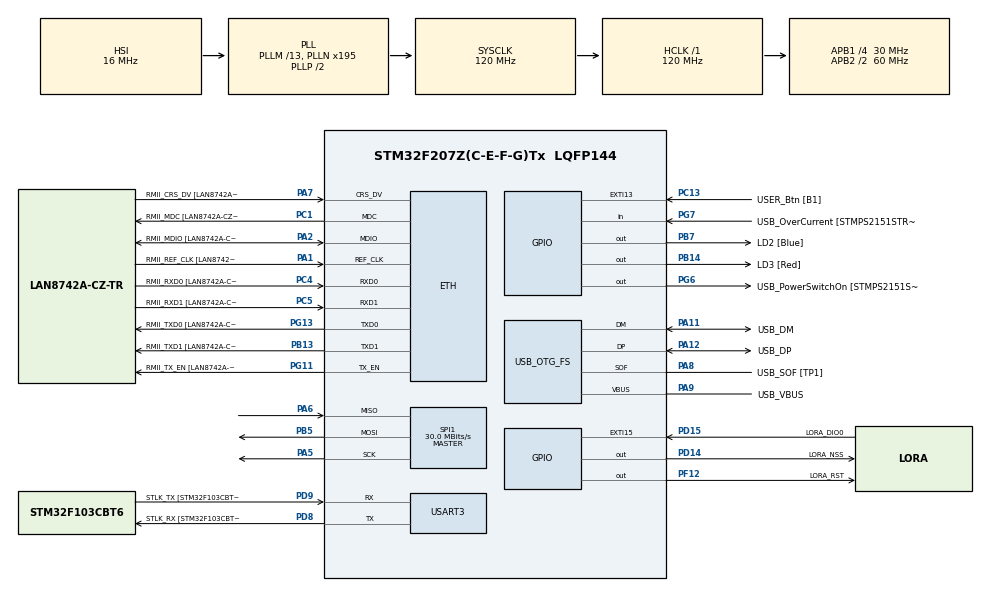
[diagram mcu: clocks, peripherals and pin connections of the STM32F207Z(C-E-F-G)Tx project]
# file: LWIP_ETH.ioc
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ETH.AutoNegotiation=ETH_AUTONEGOTIATION_ENABLE
ETH.MediaInterface=ETH_MEDIA_INTERFACE_RMII
ETH.PHY_Name=LAN8742A_PHY_ADDRESS
ETH.PHY_Value=0
ETH.PhyAddress=0
FREERTOS.Tasks01=defaultTask,24,128,StartDefaultTask,Default,NULL,Dynamic,NULL,NULL
FREERTOS.configTOTAL_HEAP_SIZE=28672
FREERTOS.configUSE_NEWLIB_REENTRANT=1
LWIP.GATEWAY_ADDRESS=000.000.000.000
LWIP.IP_ADDRESS=192.168.007.020
LWIP.LWIP_DHCP=1
LWIP.MEM_SIZE=10240
LWIP.NETMASK_ADDRESS=255.255.255.000
LWIP.RTOS_USE_NEWLIB_REENTRANT=FREERTOS$context\:USE_NEWLIB_REENTRANT
LWIP.Version=v2.0.3_Cube
Mcu.Family=STM32F2
Mcu.Name=STM32F207Z(C-E-F-G)Tx
Mcu.Package=LQFP144
NVIC.ETH_IRQn=true\:5\:0\:false\:false\:true\:true\:true\:true\:true
NVIC.ETH_WKUP_IRQn=true\:5\:0\:false\:false\:true\:true\:true\:true\:true
NVIC.PriorityGroup=NVIC_PRIORITYGROUP_4
NVIC.TIM6_DAC_IRQn=true\:15\:0\:false\:false\:true\:false\:false\:true\:true
NVIC.TimeBase=TIM6_DAC_IRQn
NVIC.TimeBaseIP=TIM6
PA1.GPIO_Label=RMII_REF_CLK [LAN8742A-CZ-TR_REFCLK0]
PA1.Mode=RMII
PA1.Signal=ETH_REF_CLK
PA10.GPIO_Label=USB_ID
PA10.Signal=USB_OTG_FS_ID
PA11.GPIO_Label=USB_DM
PA11.Mode=Device_Only
PA11.Signal=USB_OTG_FS_DM
PA12.GPIO_Label=USB_DP
PA12.Mode=Device_Only
PA12.Signal=USB_OTG_FS_DP
PA13.GPIO_Label=TMS
PA13.Mode=Serial_Wire
PA13.Signal=SYS_JTMS-SWDIO
PA14.GPIO_Label=TCK
PA14.Mode=Serial_Wire
PA14.Signal=SYS_JTCK-SWCLK
PA2.GPIO_Label=RMII_MDIO [LAN8742A-CZ-TR_MDIO]
PA2.Mode=RMII
PA2.Signal=ETH_MDIO
PA5.Mode=Full_Duplex_Master
PA5.Signal=SPI1_SCK
PA6.Mode=Full_Duplex_Master
PA6.Signal=SPI1_MISO
PA7.GPIO_Label=RMII_CRS_DV [LAN8742A-CZ-TR_CRS_DV]
PA7.Mode=RMII
PA7.Signal=ETH_CRS_DV
PA8.GPIO_Label=USB_SOF [TP1]
PA8.Mode=Activate_SOF_FS
PA8.Signal=USB_OTG_FS_SOF
PA9.GPIO_Label=USB_VBUS
PA9.Mode=Activate_VBUS
PA9.Signal=USB_OTG_FS_VBUS
PB13.GPIO_Label=RMII_TXD1 [LAN8742A-CZ-TR_TXD1]
PB13.Mode=RMII
PB13.Signal=ETH_TXD1
PB14.GPIO_Label=LD3 [Red]
PB14.Signal=GPIO_Output
PB3.GPIO_Label=SWO
PB3.Signal=SYS_JTDO-SWO
PB5.Mode=Full_Duplex_Master
PB5.Signal=SPI1_MOSI
PB7.GPIO_Label=LD2 [Blue]
PB7.Signal=GPIO_Output
PC1.GPIO_Label=RMII_MDC [LAN8742A-CZ-TR_MDC]
PC1.Mode=RMII
PC1.Signal=ETH_MDC
PC13.GPIO_Label=USER_Btn [B1]
PC13.Signal=GPXTI13
PC14-OSC32_IN.Signal=RCC_OSC32_IN
PC15-OSC32_OUT.Signal=RCC_OSC32_OUT
PC4.GPIO_Label=RMII_RXD0 [LAN8742A-CZ-TR_RXD0]
PC4.Mode=RMII
PC4.Signal=ETH_RXD0
PC5.GPIO_Label=RMII_RXD1 [LAN8742A-CZ-TR_RXD1]
PC5.Mode=RMII
PC5.Signal=ETH_RXD1
PD14.GPIO_Label=LORA_NSS
PD14.Signal=GPIO_Output
PD15.GPIO_Label=LORA_DIO0
PD15.Signal=GPXTI15
PD8.GPIO_Label=STLK_RX [STM32F103CBT6_PA2]
PD8.Mode=Asynchronous
PD8.Signal=USART3_TX
PD9.GPIO_Label=STLK_TX [STM32F103CBT6_PA3]
PD9.Mode=Asynchronous
PD9.Signal=USART3_RX
PF12.GPIO_Label=LORA_RST
PF12.Signal=GPIO_Output
PG11.GPIO_Label=RMII_TX_EN [LAN8742A-CZ-TR_TXEN]
PG11.Mode=RMII
PG11.Signal=ETH_TX_EN
PG13.GPIO_Label=RMII_TXD0 [LAN8742A-CZ-TR_TXD0]
PG13.Mode=RMII
PG13.Signal=ETH_TXD0
PG6.GPIO_Label=USB_PowerSwitchOn [STMPS2151STR_EN]
PG6.Signal=GPIO_Output
PG7.GPIO_Label=USB_OverCurrent [STMPS2151STR_FAULT]
PG7.Signal=GPIO_Input
PH0-OSC_IN.GPIO_Label=MCO [STM32F103CBT6_PA8]
PH0-OSC_IN.Mode=HSE-External-Oscillator
PH0-OSC_IN.Signal=RCC_OSC_IN
PH1-OSC_OUT.Mode=HSE-External-Oscillator
PH1-OSC_OUT.Signal=RCC_OSC_OUT
ProjectManager.HeapSize=0x200
ProjectManager.StackSize=0x400
ProjectManager.TargetToolchain=STM32CubeIDE
RCC.48MHZClocksFreq_Value=48000000
RCC.AHBFreq_Value=120000000
RCC.APB1CLKDivider=RCC_HCLK_DIV4
RCC.APB1Freq_Value=30000000
RCC.APB1TimFreq_Value=60000000
RCC.APB2CLKDivider=RCC_HCLK_DIV2
RCC.APB2Freq_Value=60000000
RCC.APB2TimFreq_Value=120000000
RCC.CortexFreq_Value=120000000
RCC.HCLKFreq_Value=120000000
RCC.HSE_VALUE=8000000
RCC.HSI_VALUE=16000000
RCC.LSE_VALUE=32768
RCC.PLLM=13
RCC.PLLMUL=RCC_PLL_MUL9
RCC.PLLN=195
RCC.PLLQ=5
RCC.PRESCALERUSB=RCC_USBCLKSOURCE_PLL_DIV1_5
RCC.SYSCLKFreq_VALUE=120000000
RCC.SYSCLKSource=RCC_SYSCLKSOURCE_PLLCLK
RCC.SYSCLKSourceVirtual=RCC_SYSCLKSOURCE_PLLCLK
RCC.USBFreq_Value=48000000
RCC.VCOOutputFreq_Value=240000000
SPI1.CalculateBaudRate=30.0 MBits/s
SPI1.Direction=SPI_DIRECTION_2LINES
SPI1.Mode=SPI_MODE_MASTER
SPI1.VirtualType=VM_MASTER
USART3.VirtualMode=VM_ASYNC
USB_OTG_FS.VirtualMode=Device_Only
VP_FREERTOS_VS_CMSIS_V2.Mode=CMSIS_V2
VP_LWIP_VS_Enabled.Mode=Enabled
VP_SYS_VS_tim6.Mode=TIM6
board=NUCLEO-F207ZG

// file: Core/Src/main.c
/* USER CODE BEGIN Header */
/**
 ******************************************************************************
 * @file    main.c
 * @brief   StructEye Gateway — STM32F207ZG LoRa RX
 *          Receives from 4 sensor nodes and forwards via Paho MQTT.
 ******************************************************************************
 */
/* USER CODE END Header */
#include "main.h"
#include "cmsis_os.h"
#include "lwip.h"

/* USER CODE BEGIN Includes */
#include "lora.h"
#include "lwip/api.h"
#include "lwip/ip_addr.h"
#include "lwip/netif.h"
#include <stdio.h>
#include <string.h>

#include "MQTTClient.h"

/* IMPORTANT: Update this to your actual PC IP address! */
#define MQTT_BROKER_IP "192.168.1.69"
#define MQTT_BROKER_PORT 1883
/* USER CODE END Includes */

SPI_HandleTypeDef hspi1;

UART_HandleTypeDef huart3;

PCD_HandleTypeDef hpcd_USB_OTG_FS;

/* Definitions for defaultTask */
osThreadId_t defaultTaskHandle;
const osThreadAttr_t defaultTask_attributes = {
    .name = "defaultTask",
    .stack_size = 1024 * 4,
    .priority = (osPriority_t)osPriorityNormal,
};
/* USER CODE BEGIN PV */
extern struct netif gnetif;
volatile uint8_t lora_rx_flag = 0;
MQTTClient mqttClient;
Network network;
unsigned char sendbuf[512];
unsigned char readbuf[512];

/* Used for LwIP Netconn transport instead of missing mqtt_transport.h */
static struct netconn *s_conn = NULL;
/* USER CODE END PV */

void SystemClock_Config(void);
static void MX_GPIO_Init(void);
static void MX_USART3_UART_Init(void);
static void MX_USB_OTG_FS_PCD_Init(void);
static void MX_SPI1_Init(void);
void StartDefaultTask(void *argument);

/* USER CODE BEGIN PFP */
int _write(int file, char *ptr, int len);
uint16_t crc16(const uint8_t *data, uint16_t len);

/* --- Network transport functions for LwIP Netconn --- */
static int transport_read(Network *n, unsigned char *buf, int len,
                          int timeout_ms) {
  (void)n;
  if (s_conn == NULL)
    return -1;
  netconn_set_recvtimeout(s_conn, (uint32_t)(timeout_ms < 1 ? 1 : timeout_ms));
  struct netbuf *nb = NULL;
  err_t err = netconn_recv(s_conn, &nb);
  if (err == ERR_TIMEOUT)
    return 0;
  if (err != ERR_OK || nb == NULL)
    return -1;
  void *data = NULL;
  uint16_t avail = 0;
  netbuf_data(nb, &data, &avail);
  int copy = ((int)avail < len) ? (int)avail : len;
  memcpy(buf, data, (size_t)copy);
  netbuf_delete(nb);
  return copy;
}

static int transport_write(Network *n, unsigned char *buf, int len,
                           int timeout_ms) {
  (void)n;
  (void)timeout_ms;
  if (s_conn == NULL)
    return -1;
  err_t err = netconn_write(s_conn, buf, (size_t)len, NETCONN_COPY);
  return (err == ERR_OK) ? len : -1;
}

static int transport_connect(const char *ip_str, uint16_t port) {
  if (s_conn != NULL) {
    netconn_close(s_conn);
    netconn_delete(s_conn);
    s_conn = NULL;
  }
  s_conn = netconn_new(NETCONN_TCP);
  if (s_conn == NULL)
    return -1;
  ip_addr_t dest;
  memset(&dest, 0, sizeof(dest));
  if (!ipaddr_aton(ip_str, &dest)) {
    netconn_delete(s_conn);
    s_conn = NULL;
    return -1;
  }
  err_t err = netconn_connect(s_conn, &dest, port);
  if (err != ERR_OK) {
    netconn_delete(s_conn);
    s_conn = NULL;
    return -1;
  }
  return 0;
}

static void transport_disconnect(void) {
  if (s_conn != NULL) {
    netconn_close(s_conn);
    netconn_delete(s_conn);
    s_conn = NULL;
  }
}
/* USER CODE END PFP */

/* USER CODE BEGIN 0 */

/* ── USART3 debug (Nucleo virtual COM) ─────────────────────────────────── */
static void USART3_DebugInit(void) {
  __HAL_RCC_GPIOD_CLK_ENABLE();
  __HAL_RCC_USART3_CLK_ENABLE();

  GPIO_InitTypeDef GPIO_InitStruct = {0};
  GPIO_InitStruct.Pin = GPIO_PIN_8 | GPIO_PIN_9;
  GPIO_InitStruct.Mode = GPIO_MODE_AF_PP;
  GPIO_InitStruct.Pull = GPIO_NOPULL;
  GPIO_InitStruct.Speed = GPIO_SPEED_FREQ_VERY_HIGH;
  GPIO_InitStruct.Alternate = GPIO_AF7_USART3;
  HAL_GPIO_Init(GPIOD, &GPIO_InitStruct);

  const uint32_t baud = 115200U;
  uint32_t pclk = HAL_RCC_GetPCLK1Freq();
  USART3->BRR = (pclk + (baud / 2U)) / baud;
  USART3->CR1 = USART_CR1_TE | USART_CR1_RE;
  USART3->CR2 = 0;
  USART3->CR3 = 0;
  USART3->CR1 |= USART_CR1_UE;
}

static void USART3_WriteBlocking(const uint8_t *data, uint16_t len) {
  for (uint16_t i = 0; i < len; i++) {
    while ((USART3->SR & USART_SR_TXE) == 0) {
    }
    USART3->DR = data[i];
  }
  while ((USART3->SR & USART_SR_TC) == 0) {
  }
}

int _write(int file, char *ptr, int len) {
  (void)file;
  USART3_WriteBlocking((const uint8_t *)ptr, (uint16_t)len);
  return len;
}

int __io_putchar(int ch) {
  uint8_t c = (uint8_t)ch;
  USART3_WriteBlocking(&c, 1);
  return ch;
}

/* ── CRC16 ──────────────────────────────────────────────────────────────── */
uint16_t crc16(const uint8_t *data, uint16_t len) {
  uint16_t crc = 0xFFFF;
  for (uint16_t i = 0; i < len; i++) {
    crc ^= (uint16_t)data[i] << 8;
    for (uint8_t j = 0; j < 8; j++) {
      if (crc & 0x8000)
        crc = (crc << 1) ^ 0x1021;
      else
        crc <<= 1;
    }
  }
  return crc;
}

/* ── LoRa DIO0 interrupt ────────────────────────────────────────────────── */
void HAL_GPIO_EXTI_Callback(uint16_t GPIO_Pin) {
  if (GPIO_Pin == LORA_DIO0_Pin) {
    lora_rx_flag = 1;
  }
}

/* USER CODE END 0 */

int main(void) {

  /* MCU Configuration--------------------------------------------------------*/

  /* Reset of all peripherals, Initializes the Flash interface and the Systick.
   */
  HAL_Init();

  /* Configure the system clock */
  SystemClock_Config();

  /* Initialize all configured peripherals */
  MX_GPIO_Init();
  MX_USART3_UART_Init();
  MX_USB_OTG_FS_PCD_Init();
  MX_SPI1_Init();
  /* USER CODE BEGIN 2 */
  USART3_DebugInit();
  setvbuf(stdout, NULL, _IONBF, 0);

  HAL_GPIO_WritePin(LORA_NSS_GPIO_Port, LORA_NSS_Pin, GPIO_PIN_SET);
  HAL_GPIO_WritePin(LORA_RST_GPIO_Port, LORA_RST_Pin, GPIO_PIN_SET);

  HAL_NVIC_EnableIRQ(EXTI15_10_IRQn);

  printf(
      "\r\n============================================================\r\n");
  printf("  StructEye Gateway - STM32F207ZG LoRa Receiver (Paho MQTT)\r\n");
  printf("  MQTT Broker -> %s:%u\r\n", MQTT_BROKER_IP, MQTT_BROKER_PORT);
  printf("============================================================\r\n");

  SX1278_Init();
  uint8_t loraVersion = SX1278_ReadRegister(REG_VERSION);
  printf("LoRa Version: 0x%02X %s\r\n", loraVersion,
         (loraVersion == 0x12) ? "(OK)" : "(ERROR!)");

  // Debug: Dump Registers to verify SPI writes
  printf("--- SX1278 REG DUMP ---\r\n");
  printf("OP_MODE: 0x%02X\r\n", SX1278_ReadRegister(REG_OP_MODE));
  printf("FRF: %02X %02X %02X\r\n", SX1278_ReadRegister(REG_FRF_MSB),
         SX1278_ReadRegister(REG_FRF_MID), SX1278_ReadRegister(REG_FRF_LSB));
  printf("MODEM_1: 0x%02X\r\n", SX1278_ReadRegister(REG_MODEM_CONFIG_1));
  printf("MODEM_2: 0x%02X\r\n", SX1278_ReadRegister(REG_MODEM_CONFIG_2));
  printf("MODEM_3: 0x%02X\r\n", SX1278_ReadRegister(REG_MODEM_CONFIG_3));
  printf("SYNC_WORD: 0x%02X\r\n", SX1278_ReadRegister(REG_SYNC_WORD));
  printf("-----------------------\r\n");

  SX1278_StartRX();
  printf("Listening for LoRa packets...\r\n\r\n");
  /* USER CODE END 2 */

  /* Init scheduler */
  osKernelInitialize();

  /* Create the thread(s) */
  defaultTaskHandle =
      osThreadNew(StartDefaultTask, NULL, &defaultTask_attributes);
  if (defaultTaskHandle == NULL) {
    printf("[FATAL] FreeRTOS could not create StartDefaultTask! (Out of "
           "Heap)\r\n");
  }

  /* Start scheduler */
  osKernelStart();

  /* We should never get here as control is now taken by the scheduler */

  /* Infinite loop */
  while (1) {

  }
}

void SystemClock_Config(void) {
  RCC_OscInitTypeDef RCC_OscInitStruct = {0};
  RCC_ClkInitTypeDef RCC_ClkInitStruct = {0};

  /** Initializes the RCC Oscillators according to the specified parameters
   * in the RCC_OscInitTypeDef structure.
   */
  RCC_OscInitStruct.OscillatorType = RCC_OSCILLATORTYPE_HSI;
  RCC_OscInitStruct.HSIState = RCC_HSI_ON;
  RCC_OscInitStruct.HSICalibrationValue = RCC_HSICALIBRATION_DEFAULT;
  RCC_OscInitStruct.PLL.PLLState = RCC_PLL_ON;
  RCC_OscInitStruct.PLL.PLLSource = RCC_PLLSOURCE_HSI;
  RCC_OscInitStruct.PLL.PLLM = 13;
  RCC_OscInitStruct.PLL.PLLN = 195;
  RCC_OscInitStruct.PLL.PLLP = RCC_PLLP_DIV2;
  RCC_OscInitStruct.PLL.PLLQ = 5;
  if (HAL_RCC_OscConfig(&RCC_OscInitStruct) != HAL_OK) {
    Error_Handler();
  }

  /** Initializes the CPU, AHB and APB buses clocks
   */
  RCC_ClkInitStruct.ClockType = RCC_CLOCKTYPE_HCLK | RCC_CLOCKTYPE_SYSCLK |
                                RCC_CLOCKTYPE_PCLK1 | RCC_CLOCKTYPE_PCLK2;
  RCC_ClkInitStruct.SYSCLKSource = RCC_SYSCLKSOURCE_PLLCLK;
  RCC_ClkInitStruct.AHBCLKDivider = RCC_SYSCLK_DIV1;
  RCC_ClkInitStruct.APB1CLKDivider = RCC_HCLK_DIV4;
  RCC_ClkInitStruct.APB2CLKDivider = RCC_HCLK_DIV2;

  if (HAL_RCC_ClockConfig(&RCC_ClkInitStruct, FLASH_LATENCY_3) != HAL_OK) {
    Error_Handler();
  }
}

static void MX_SPI1_Init(void) {

  /* SPI1 parameter configuration*/
  hspi1.Instance = SPI1;
  hspi1.Init.Mode = SPI_MODE_MASTER;
  hspi1.Init.Direction = SPI_DIRECTION_2LINES;
  hspi1.Init.DataSize = SPI_DATASIZE_8BIT;
  hspi1.Init.CLKPolarity = SPI_POLARITY_LOW;
  hspi1.Init.CLKPhase = SPI_PHASE_1EDGE;
  hspi1.Init.NSS = SPI_NSS_SOFT;
  hspi1.Init.BaudRatePrescaler = SPI_BAUDRATEPRESCALER_32;
  hspi1.Init.FirstBit = SPI_FIRSTBIT_MSB;
  hspi1.Init.TIMode = SPI_TIMODE_DISABLE;
  hspi1.Init.CRCCalculation = SPI_CRCCALCULATION_DISABLE;
  hspi1.Init.CRCPolynomial = 10;
  if (HAL_SPI_Init(&hspi1) != HAL_OK) {
    Error_Handler();
  }
}

static void MX_USART3_UART_Init(void) {

  huart3.Instance = USART3;
  huart3.Init.BaudRate = 115200;
  huart3.Init.WordLength = UART_WORDLENGTH_8B;
  huart3.Init.StopBits = UART_STOPBITS_1;
  huart3.Init.Parity = UART_PARITY_NONE;
  huart3.Init.Mode = UART_MODE_TX_RX;
  huart3.Init.HwFlowCtl = UART_HWCONTROL_NONE;
  huart3.Init.OverSampling = UART_OVERSAMPLING_16;
  if (HAL_UART_Init(&huart3) != HAL_OK) {
    Error_Handler();
  }
}

static void MX_USB_OTG_FS_PCD_Init(void) {

  hpcd_USB_OTG_FS.Instance = USB_OTG_FS;
  hpcd_USB_OTG_FS.Init.dev_endpoints = 4;
  hpcd_USB_OTG_FS.Init.speed = PCD_SPEED_FULL;
  hpcd_USB_OTG_FS.Init.dma_enable = DISABLE;
  hpcd_USB_OTG_FS.Init.phy_itface = PCD_PHY_EMBEDDED;
  hpcd_USB_OTG_FS.Init.Sof_enable = ENABLE;
  hpcd_USB_OTG_FS.Init.low_power_enable = DISABLE;
  hpcd_USB_OTG_FS.Init.vbus_sensing_enable = ENABLE;
  hpcd_USB_OTG_FS.Init.use_dedicated_ep1 = DISABLE;
  if (HAL_PCD_Init(&hpcd_USB_OTG_FS) != HAL_OK) {
    Error_Handler();
  }
}

static void MX_GPIO_Init(void) {
  GPIO_InitTypeDef GPIO_InitStruct = {0};

  /* GPIO Ports Clock Enable */
  __HAL_RCC_GPIOC_CLK_ENABLE();
  __HAL_RCC_GPIOH_CLK_ENABLE();
  __HAL_RCC_GPIOA_CLK_ENABLE();
  __HAL_RCC_GPIOF_CLK_ENABLE();
  __HAL_RCC_GPIOB_CLK_ENABLE();
  __HAL_RCC_GPIOD_CLK_ENABLE();
  __HAL_RCC_GPIOG_CLK_ENABLE();

  /*Configure GPIO pin Output Level */
  HAL_GPIO_WritePin(LORA_RST_GPIO_Port, LORA_RST_Pin, GPIO_PIN_RESET);

  /*Configure GPIO pin Output Level */
  HAL_GPIO_WritePin(GPIOB, LD3_Pin | LD2_Pin, GPIO_PIN_RESET);

  /*Configure GPIO pin Output Level */
  HAL_GPIO_WritePin(LORA_NSS_GPIO_Port, LORA_NSS_Pin, GPIO_PIN_RESET);

  /*Configure GPIO pin Output Level */
  HAL_GPIO_WritePin(USB_PowerSwitchOn_GPIO_Port, USB_PowerSwitchOn_Pin,
                    GPIO_PIN_RESET);

  /*Configure GPIO pin : USER_Btn_Pin */
  GPIO_InitStruct.Pin = USER_Btn_Pin;
  GPIO_InitStruct.Mode = GPIO_MODE_IT_RISING;
  GPIO_InitStruct.Pull = GPIO_NOPULL;
  HAL_GPIO_Init(USER_Btn_GPIO_Port, &GPIO_InitStruct);

  /*Configure GPIO pin : LORA_RST_Pin */
  GPIO_InitStruct.Pin = LORA_RST_Pin;
  GPIO_InitStruct.Mode = GPIO_MODE_OUTPUT_PP;
  GPIO_InitStruct.Pull = GPIO_NOPULL;
  GPIO_InitStruct.Speed = GPIO_SPEED_FREQ_LOW;
  HAL_GPIO_Init(LORA_RST_GPIO_Port, &GPIO_InitStruct);

  /*Configure GPIO pins : LD3_Pin LD2_Pin */
  GPIO_InitStruct.Pin = LD3_Pin | LD2_Pin;
  GPIO_InitStruct.Mode = GPIO_MODE_OUTPUT_PP;
  GPIO_InitStruct.Pull = GPIO_NOPULL;
  GPIO_InitStruct.Speed = GPIO_SPEED_FREQ_LOW;
  HAL_GPIO_Init(GPIOB, &GPIO_InitStruct);

  /*Configure GPIO pin : LORA_NSS_Pin */
  GPIO_InitStruct.Pin = LORA_NSS_Pin;
  GPIO_InitStruct.Mode = GPIO_MODE_OUTPUT_PP;
  GPIO_InitStruct.Pull = GPIO_NOPULL;
  GPIO_InitStruct.Speed = GPIO_SPEED_FREQ_LOW;
  HAL_GPIO_Init(LORA_NSS_GPIO_Port, &GPIO_InitStruct);

  /*Configure GPIO pin : LORA_DIO0_Pin */
  GPIO_InitStruct.Pin = LORA_DIO0_Pin;
  GPIO_InitStruct.Mode = GPIO_MODE_IT_RISING;
  GPIO_InitStruct.Pull = GPIO_NOPULL;
  HAL_GPIO_Init(LORA_DIO0_GPIO_Port, &GPIO_InitStruct);

  /*Configure GPIO pin : USB_PowerSwitchOn_Pin */
  GPIO_InitStruct.Pin = USB_PowerSwitchOn_Pin;
  GPIO_InitStruct.Mode = GPIO_MODE_OUTPUT_PP;
  GPIO_InitStruct.Pull = GPIO_NOPULL;
  GPIO_InitStruct.Speed = GPIO_SPEED_FREQ_LOW;
  HAL_GPIO_Init(USB_PowerSwitchOn_GPIO_Port, &GPIO_InitStruct);

  /*Configure GPIO pin : USB_OverCurrent_Pin */
  GPIO_InitStruct.Pin = USB_OverCurrent_Pin;
  GPIO_InitStruct.Mode = GPIO_MODE_INPUT;
  GPIO_InitStruct.Pull = GPIO_NOPULL;
  HAL_GPIO_Init(USB_OverCurrent_GPIO_Port, &GPIO_InitStruct);

}

void StartDefaultTask(void *argument) {
  /* init code for LWIP */
  MX_LWIP_Init();
  /* USER CODE BEGIN 5 */
  /* --- PAHO MQTT INITIALIZATION --- */
  network.mqttread = transport_read;
  network.mqttwrite = transport_write;
  MQTTClientInit(&mqttClient, &network, 5000, sendbuf, sizeof(sendbuf), readbuf,
                 sizeof(readbuf));

  uint8_t rx_buffer[256];
  memset(rx_buffer, 0, sizeof(rx_buffer));
  uint32_t total_rx = 0;
  uint32_t valid_rx = 0;

  uint8_t eth_link_was_up = 0;
  uint8_t ip_was_assigned = 0;
  uint32_t last_reconnect_attempt = 0;

  for (;;) {

    /* 1. Check Ethernet Link */
    uint8_t link_is_up = netif_is_link_up(&gnetif);
    if (link_is_up && !eth_link_was_up) {
      printf("[ETH] Link is UP!\r\n");
      eth_link_was_up = 1;
    } else if (!link_is_up && eth_link_was_up) {
      printf("[ETH] Link went DOWN!\r\n");
      eth_link_was_up = 0;
      ip_was_assigned = 0;
    }

    /* 2. Check DHCP IP Assignment */
    if (link_is_up) {
      uint32_t current_ip = gnetif.ip_addr.addr;
      if (current_ip != 0 && !ip_was_assigned) {
        printf("[DHCP] Assigned IP: %lu.%lu.%lu.%lu\r\n", (current_ip & 0xff),
               ((current_ip >> 8) & 0xff), ((current_ip >> 16) & 0xff),
               (current_ip >> 24));
        ip_was_assigned = 1;
        last_reconnect_attempt =
            HAL_GetTick() - 5000; /* Force immediate connect */
      }
    }

    /* 3. Handle MQTT Connection (only if IP assigned) */
    if (ip_was_assigned) {
      if (mqttClient.isconnected) {
        MQTTYield(&mqttClient, 10);
      } else {
        if (HAL_GetTick() - last_reconnect_attempt > 5000) {
          last_reconnect_attempt = HAL_GetTick();
          printf("[MQTT] Attempting to connect to %s...\r\n", MQTT_BROKER_IP);
          transport_disconnect();
          int rc = transport_connect(MQTT_BROKER_IP, MQTT_BROKER_PORT);
          if (rc == 0) {
            MQTTPacket_connectData data = MQTTPacket_connectData_initializer;
            data.MQTTVersion = 3;
            data.clientID.cstring = "STM32_Gateway";
            rc = MQTTConnect(&mqttClient, &data);
            if (rc == MQTT_SUCCESS) {
              printf("[MQTT] Connected successfully to Mosquitto!\r\n");
            } else {
              printf("[MQTT] Connect failed with code %d\r\n", rc);
              transport_disconnect();
            }
          } else {
            printf("[MQTT] TCP connection failed.\r\n");
          }
        }
      }
    }

    /* 4. LoRa packet received ────────────────────────────────────────── */

    // Debug: Poll IRQ flags to see if hardware received it but interrupt didn't
    // fire
    uint8_t irq_flags = SX1278_ReadRegister(REG_IRQ_FLAGS);
    if ((irq_flags & 0x40) != 0) {
      if (!lora_rx_flag) {
        printf("[DEBUG] RxDone flag is set in hardware, but DIO0 interrupt DID "
               "NOT FIRE! Check your PD15 wire.\r\n");
        lora_rx_flag = 1; // trigger it anyway
      }
    }

    if (lora_rx_flag) {
      lora_rx_flag = 0;

      uint8_t irqFlags = SX1278_ReadRegister(REG_IRQ_FLAGS);
      SX1278_WriteRegister(REG_IRQ_FLAGS, 0xFF);
      total_rx++;

      /* Check RxDone flag (bit 6) */
      if (!(irqFlags & 0x40)) {
        SX1278_RestartRX();
        continue;
      }

      /* Check packet length */
      uint8_t len = SX1278_ReadRegister(REG_RX_NB_BYTES);
      if (len != 23) {
        printf("[DROP] Wrong length: %u\r\n", len);
        SX1278_RestartRX();
        continue;
      }

      /* Read FIFO */
      uint8_t fifoAddr = SX1278_ReadRegister(REG_FIFO_RX_CURRENT_ADDR);
      SX1278_WriteRegister(REG_FIFO_ADDR_PTR, fifoAddr);

      HAL_GPIO_WritePin(LORA_NSS_GPIO_Port, LORA_NSS_Pin, GPIO_PIN_RESET);
      uint8_t reg_addr = REG_FIFO & 0x7F;
      HAL_SPI_Transmit(&hspi1, &reg_addr, 1, HAL_MAX_DELAY);
      HAL_SPI_Receive(&hspi1, rx_buffer, len, HAL_MAX_DELAY);
      HAL_GPIO_WritePin(LORA_NSS_GPIO_Port, LORA_NSS_Pin, GPIO_PIN_SET);

      /* Check start byte */
      if (rx_buffer[0] != 0xAA) {
        printf("[DROP] Bad start: 0x%02X\r\n", rx_buffer[0]);
        SX1278_RestartRX();
        continue;
      }

      /* Check CRC */
      uint16_t rx_crc = (uint16_t)((rx_buffer[21] << 8) | rx_buffer[22]);
      uint16_t calc_crc = crc16(rx_buffer, 21);
      if (rx_crc != calc_crc) {
        printf("[DROP] CRC: 0x%04X vs 0x%04X\r\n", rx_crc, calc_crc);
        SX1278_RestartRX();
        continue;
      }

      /* Parse packet */
      valid_rx++;
      uint8_t node_id = rx_buffer[1];
      uint8_t seq = rx_buffer[2];
      int16_t ax = (int16_t)((rx_buffer[3] << 8) | rx_buffer[4]);
      int16_t ay = (int16_t)((rx_buffer[5] << 8) | rx_buffer[6]);
      int16_t az = (int16_t)((rx_buffer[7] << 8) | rx_buffer[8]);
      int16_t gx = (int16_t)((rx_buffer[9] << 8) | rx_buffer[10]);
      int16_t gy = (int16_t)((rx_buffer[11] << 8) | rx_buffer[12]);
      int16_t gz = (int16_t)((rx_buffer[13] << 8) | rx_buffer[14]);
      uint16_t vib = (uint16_t)((rx_buffer[15] << 8) | rx_buffer[16]);
      int16_t tilt = (int16_t)((rx_buffer[17] << 8) | rx_buffer[18]);
      uint8_t status = rx_buffer[19];
      uint8_t alert = rx_buffer[20];

      SX1278_RestartRX();

      /* Print to serial */
      const char *alert_str = (alert == 0)   ? "OK"
                              : (alert == 1) ? "WARN"
                              : (alert == 2) ? "CRITICAL"
                                             : "UNKNOWN";

#define F_SIGN(x) ((x) < 0 ? "-" : "")
#define F_INT(x) (abs(x) / 100)
#define F_FRAC(x) (abs(x) % 100)

      printf("\r\n--- Packet Received ---\r\n");
      printf("Node: %u | Seq: %u | RX: %lu Valid: %lu\r\n", node_id, seq,
             total_rx, valid_rx);
      printf("Accel: X=%s%d.%02d Y=%s%d.%02d Z=%s%d.%02d m/s2\r\n", F_SIGN(ax),
             F_INT(ax), F_FRAC(ax), F_SIGN(ay), F_INT(ay), F_FRAC(ay),
             F_SIGN(az), F_INT(az), F_FRAC(az));
      printf("Gyro:  X=%s%d.%02d Y=%s%d.%02d Z=%s%d.%02d deg/s\r\n", F_SIGN(gx),
             F_INT(gx), F_FRAC(gx), F_SIGN(gy), F_INT(gy), F_FRAC(gy),
             F_SIGN(gz), F_INT(gz), F_FRAC(gz));
      printf("Vib: %d.%02d m/s2 | Tilt: %s%d.%02d deg\r\n", (vib / 100),
             (vib % 100), F_SIGN(tilt), F_INT(tilt), F_FRAC(tilt));
      printf("Status: 0x%02X | Alert: %u [%s]\r\n", status, alert, alert_str);

      /* Publish via MQTT */
      if (mqttClient.isconnected) {
        char payload[256];
        int n = snprintf(
            payload, sizeof(payload),
            "{\"node\":%u, \"seq\":%u, \"ax\":%s%d.%02d, \"ay\":%s%d.%02d, "
            "\"az\":%s%d.%02d, "
            "\"gx\":%s%d.%02d, \"gy\":%s%d.%02d, \"gz\":%s%d.%02d, "
            "\"vib\":%d.%02d, \"tilt\":%s%d.%02d, "
            "\"alert\":%u}",
            node_id, seq, F_SIGN(ax), F_INT(ax), F_FRAC(ax), F_SIGN(ay),
            F_INT(ay), F_FRAC(ay), F_SIGN(az), F_INT(az), F_FRAC(az),
            F_SIGN(gx), F_INT(gx), F_FRAC(gx), F_SIGN(gy), F_INT(gy),
            F_FRAC(gy), F_SIGN(gz), F_INT(gz), F_FRAC(gz), (vib / 100),
            (vib % 100), F_SIGN(tilt), F_INT(tilt), F_FRAC(tilt), alert);

        MQTTMessage message;
        message.qos = QOS0;
        message.retained = 0;
        message.payload = payload;
        message.payloadlen = n;

        char topic[64];
        snprintf(topic, sizeof(topic), "structeye/node/%u/data", node_id);

        int pub_rc = MQTTPublish(&mqttClient, topic, &message);
        if (pub_rc == MQTT_SUCCESS) {
          printf("[MQTT] Successfully Published to %s\r\n", topic);
        } else {
          printf("[MQTT] Publish failed! code = %d\r\n", pub_rc);
        }
      } else {
        printf("[MQTT] Cannot publish, client disconnected.\r\n");
      }
    }

    osDelay(10);
  }
  /* USER CODE END 5 */
}

void HAL_TIM_PeriodElapsedCallback(TIM_HandleTypeDef *htim) {
  if (htim->Instance == TIM6) {
    HAL_IncTick();
  }
}

void Error_Handler(void) {
  __disable_irq();
  while (1) {
  }
}
#ifdef USE_FULL_ASSERT
/**
 * @brief  Reports the name of the source file and the source line number
 *         where the assert_param error has occurred.
 * @param  file: pointer to the source file name
 * @param  line: assert_param error line source number
 * @retval None
 */
void assert_failed(uint8_t *file, uint32_t line) {
  /* USER CODE BEGIN 6 */
  /* User can add his own implementation to report the file name and line
     number, ex: printf("Wrong parameters value: file %s on line %d\r\n", file,
     line) */
  /* USER CODE END 6 */
}
#endif /* USE_FULL_ASSERT */
       // ne
